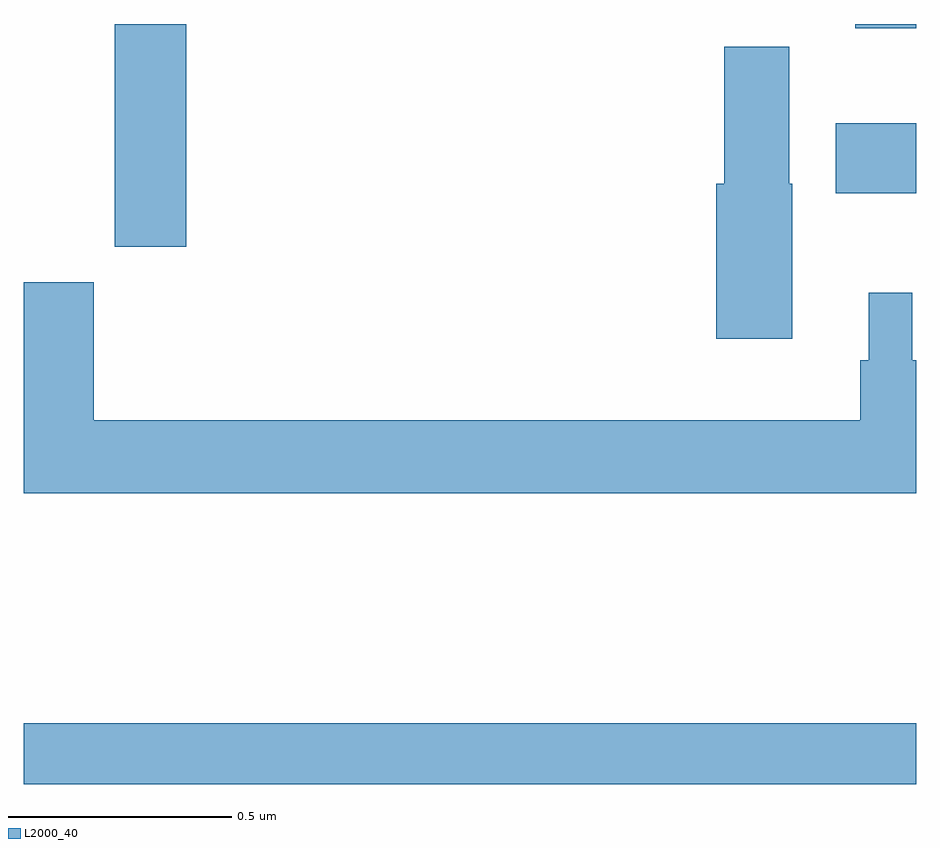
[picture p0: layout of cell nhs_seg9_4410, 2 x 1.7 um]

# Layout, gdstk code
import gdstk
lib = gdstk.Library(unit=1e-6, precision=1e-09)
def R(c, l, rs):  # rectangles x0, y0, x1, y1
    for r in rs: c.add(gdstk.rectangle(r[:2], r[2:], *l))
def P(c, l, *ps):  # polygons
    for p in ps: c.add(gdstk.Polygon(p, *l))
L2000_40 = (2000, 40)

nhs_seg9_4410 = lib.new_cell('nhs_seg9_4410')
R(nhs_seg9_4410, L2000_40, [(166,1167.796,168,1167.932), (166.204,1169.001,166.364,1169.5), (167.82,1169.12,168,1169.278), (167.864,1169.49,168,1169.5)])
P(nhs_seg9_4410, L2000_40, [(167.722,1169.142),(167.716,1169.142),(167.716,1169.449),(167.57,1169.449),(167.57,1169.142),(167.552,1169.142),(167.552,1168.794),(167.722,1168.794)],
  [(168,1168.746),(167.992,1168.746),(167.992,1168.897),(167.894,1168.897),(167.894,1168.746),(167.875,1168.746),(167.875,1168.612),(166.156,1168.612),(166.156,1168.921),(166,1168.921),(166,1168.448),(168,1168.448)])

lib.write_gds('nhs_seg9_4410.gds')
